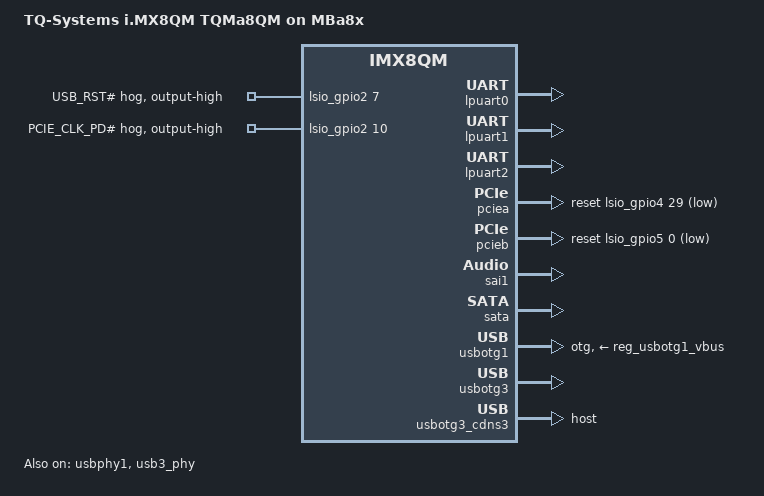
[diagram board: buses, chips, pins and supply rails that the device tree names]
// SPDX-License-Identifier: (GPL-2.0-or-later OR MIT)
/*
 * Copyright 2019-2021 TQ-Systems GmbH
 */

/dts-v1/;

#include "imx8qm-tqma8qm.dtsi"
#include "mba8x.dtsi"

/ {
	model = "TQ-Systems i.MX8QM TQMa8QM on MBa8x";
	compatible = "tq,imx8qm-tqma8qm-mba8x", "tq,imx8qm-tqma8qm", "fsl,imx8qm";

	aliases {
		rtc0 = &pcf85063;
		rtc1 = &rtc;
	};

	chosen {
		bootargs = "console=ttyLP0,115200 earlycon";
		stdout-path = &lpuart0;
	};
};

&lsio_gpio1 {
	/* enable wakeup for gpio-key for gpio1 line 0 (SWITCH_B)*/
	pad-wakeup-num = <1>;
	pad-wakeup = <IMX8QM_SCU_GPIO0_04 4 0>;
};

&lsio_gpio2 {
	/* enable wakeup for gpio-key for gpio2 line 11 (SWITCH_A)*/
	pad-wakeup-num = <1>;
	pad-wakeup = <IMX8QM_ESAI1_TX3_RX2 4 11>;

	/* HUB reset needs to be enabled when the PHY is powered up */
	usb-rst {
		gpio-hog;
		gpios = <7 0>;
		output-high;
		line-name = "USB_RST#";
	};

	/*
	 * force PD# input of PCIe clock generator high
	 * TODO: should better be used as gpio driven clock gate
	 * has to check against SCU firmware if possible.
	 */
	pcie-clk-pd {
		gpio-hog;
		gpios = <10 0>;
		output-high;
		line-name = "PCIE_CLK_PD#";
	};
};

&lpuart0 { /* console */
	pinctrl-names = "default";
	pinctrl-0 = <&pinctrl_lpuart0>;
	status = "okay";
};

&lpuart1 { /* X62 pin header */
	pinctrl-names = "default";
	pinctrl-0 = <&pinctrl_lpuart1>;
	status = "okay";
};

&lpuart2 { /* mikroBUS */
	pinctrl-names = "default";
	pinctrl-0 = <&pinctrl_lpuart2>;
	status = "okay";
};

&pciea {
	pinctrl-names = "default";
	pinctrl-0 = <&pinctrl_pciea>;
	disable-gpio = <&lsio_gpio2 5 GPIO_ACTIVE_LOW>;
	reset-gpio = <&lsio_gpio4 29 GPIO_ACTIVE_LOW>;
/* TODO: optional, currently without functionality */
/*	clkreq-gpio = <&gpio4 27 GPIO_ACTIVE_LOW>; */
	epdev_on-supply = <&reg_v3v3_pcie>;
	vpcie-supply = <&reg_v1v5_pcie>;
	status = "okay";
};

&pcieb {
	pinctrl-names = "default";
	pinctrl-0 = <&pinctrl_pcieb>;
	reset-gpio = <&lsio_gpio5 0 GPIO_ACTIVE_LOW>;
/* TODO: optional, currently without functionality */
/*	clkreq-gpio = <&gpio4 30 GPIO_ACTIVE_LOW>; */
	epdev_on-supply = <&reg_mba8x_v3v3>;
	status = "okay";
};

&sai1 {
	pinctrl-names = "default";
	pinctrl-0 = <&pinctrl_sai1>;
	assigned-clocks = <&clk IMX_SC_R_AUDIO_PLL_0 IMX_SC_PM_CLK_PLL>,
			<&clk IMX_SC_R_AUDIO_PLL_0 IMX_SC_PM_CLK_SLV_BUS>,
			<&clk IMX_SC_R_AUDIO_PLL_0 IMX_SC_PM_CLK_MST_BUS>,
			<&sai1_lpcg 0>;
	assigned-clock-rates = <786432000>, <49152000>, <12288000>, <49152000>;
	status = "okay";
};

&sata {
	ext_osc = <1>;
	clkreq-gpio = <&lsio_gpio4 30 GPIO_ACTIVE_LOW>;
	status = "okay";
};

&usbphy1 {
	status = "okay";
};

&usbotg1 {
	pinctrl-names = "default";
	pinctrl-0 = <&pinctrl_usbotg1>;
	vbus-supply = <&reg_usbotg1_vbus>;
	srp-disable;
	hnp-disable;
	adp-disable;
	power-active-high;
	over-current-active-low;
	dr_mode = "otg";
	status = "okay";
};

&usb3_phy {
	status = "okay";
};

&usbotg3 {
	/* over-current disabled by default */
	status = "okay";
};

&usbotg3_cdns3 {
	dr_mode = "host";
	status = "okay";
};

&iomuxc {
	pinctrl-names = "default";
	pinctrl-0 = <&pinctrl_gpio &pinctrl_hog>;

	pinctrl_adc0: adc0grp {
		fsl,pins = <
			IMX8QM_ADC_IN1_DMA_ADC0_IN1		0x02000060
			IMX8QM_ADC_IN2_DMA_ADC0_IN2		0x02000060
		>;
	};

	pinctrl_fec1: fec1grp {
		fsl,pins = <
			IMX8QM_COMP_CTL_GPIO_1V8_3V3_ENET_ENETB_PAD		0x000014a0

			IMX8QM_ENET0_MDC_CONN_ENET0_MDC				0x06000041
			IMX8QM_ENET0_MDIO_CONN_ENET0_MDIO			0x06000041
			IMX8QM_ENET0_RGMII_TX_CTL_CONN_ENET0_RGMII_TX_CTL	0x00000041
			IMX8QM_ENET0_RGMII_TXC_CONN_ENET0_RGMII_TXC		0x00000041
			IMX8QM_ENET0_RGMII_TXD0_CONN_ENET0_RGMII_TXD0		0x00000041
			IMX8QM_ENET0_RGMII_TXD1_CONN_ENET0_RGMII_TXD1		0x00000041
			IMX8QM_ENET0_RGMII_TXD2_CONN_ENET0_RGMII_TXD2		0x00000041
			IMX8QM_ENET0_RGMII_TXD3_CONN_ENET0_RGMII_TXD3		0x00000041
			IMX8QM_ENET0_RGMII_RXC_CONN_ENET0_RGMII_RXC		0x00000040
			IMX8QM_ENET0_RGMII_RX_CTL_CONN_ENET0_RGMII_RX_CTL	0x00000040
			IMX8QM_ENET0_RGMII_RXD0_CONN_ENET0_RGMII_RXD0		0x00000040
			IMX8QM_ENET0_RGMII_RXD1_CONN_ENET0_RGMII_RXD1		0x00000040
			IMX8QM_ENET0_RGMII_RXD2_CONN_ENET0_RGMII_RXD2		0x00000040
			IMX8QM_ENET0_RGMII_RXD3_CONN_ENET0_RGMII_RXD3		0x00000040
			/* PHY Reset */
			IMX8QM_ESAI1_SCKR_LSIO_GPIO2_IO06			0x00000041
		>;
	};

	pinctrl_fec2: fec2grp {
		fsl,pins = <
			IMX8QM_COMP_CTL_GPIO_1V8_3V3_ENET_ENETA_PAD		0x000014a0

			IMX8QM_ENET1_MDC_CONN_ENET1_MDC				0x06000041
			IMX8QM_ENET1_MDIO_CONN_ENET1_MDIO			0x06000041
			IMX8QM_ENET1_RGMII_TX_CTL_CONN_ENET1_RGMII_TX_CTL	0x00000041
			IMX8QM_ENET1_RGMII_TXC_CONN_ENET1_RGMII_TXC		0x00000041
			IMX8QM_ENET1_RGMII_TXD0_CONN_ENET1_RGMII_TXD0		0x00000041
			IMX8QM_ENET1_RGMII_TXD1_CONN_ENET1_RGMII_TXD1		0x00000041
			IMX8QM_ENET1_RGMII_TXD2_CONN_ENET1_RGMII_TXD2		0x00000041
			IMX8QM_ENET1_RGMII_TXD3_CONN_ENET1_RGMII_TXD3		0x00000041
			IMX8QM_ENET1_RGMII_RXC_CONN_ENET1_RGMII_RXC		0x00000040
			IMX8QM_ENET1_RGMII_RX_CTL_CONN_ENET1_RGMII_RX_CTL	0x00000040
			IMX8QM_ENET1_RGMII_RXD0_CONN_ENET1_RGMII_RXD0		0x00000040
			IMX8QM_ENET1_RGMII_RXD1_CONN_ENET1_RGMII_RXD1		0x00000040
			IMX8QM_ENET1_RGMII_RXD2_CONN_ENET1_RGMII_RXD2		0x00000040
			IMX8QM_ENET1_RGMII_RXD3_CONN_ENET1_RGMII_RXD3		0x00000040
			/* PHY Reset */
			IMX8QM_ESAI1_FSR_LSIO_GPIO2_IO04			0x00000041
		>;
	};

	pinctrl_flexcan1: flexcan0grp {
		fsl,pins = <
			IMX8QM_FLEXCAN0_TX_DMA_FLEXCAN0_TX	0x21
			IMX8QM_FLEXCAN0_RX_DMA_FLEXCAN0_RX	0x21
		>;
	};

	pinctrl_flexcan2: flexcan1grp {
		fsl,pins = <
			IMX8QM_FLEXCAN1_TX_DMA_FLEXCAN1_TX	0x21
			IMX8QM_FLEXCAN1_RX_DMA_FLEXCAN1_RX	0x21
		>;
	};

	pinctrl_gpio: pingpiogrp {
		fsl,pins = <
			/* GPIO0_05 on X62:26 */
			IMX8QM_SIM0_GPIO0_00_LSIO_GPIO0_IO05	0x00000021
			/* GPIO1_14 on X64:21 */
			IMX8QM_LVDS1_I2C1_SCL_LSIO_GPIO1_IO14	0x00000021
			/* GPIO1_15 on X64:23 */
			IMX8QM_LVDS1_I2C1_SDA_LSIO_GPIO1_IO15	0x00000021
			/* GPIO2_17 on X63:37 */
			IMX8QM_SPI3_SCK_LSIO_GPIO2_IO17		0x00000021
			/* GPIO2_21 on X63:39 */
			IMX8QM_SPI3_CS1_LSIO_GPIO2_IO21		0x00000021
			/* GPIO4_12 on X61:24 */
			IMX8QM_USDHC2_CD_B_LSIO_GPIO4_IO12	0x00000021
			/* GPIO4_11 on X61:26 */
			IMX8QM_USDHC2_WP_LSIO_GPIO4_IO11	0x00000021
			/* GPIO4_10 on X61:28 */
			IMX8QM_USDHC2_VSELECT_LSIO_GPIO4_IO10	0x00000021
			/* GPIO4_09 on X61:30 */
			IMX8QM_USDHC2_RESET_B_LSIO_GPIO4_IO09	0x00000021
			/* GPIO5_23 on X62:24 */
			IMX8QM_USDHC1_STROBE_LSIO_GPIO5_IO23	0x00000021
			/* GPIO5_24 on X61:15 */
			IMX8QM_USDHC2_CLK_LSIO_GPIO5_IO24	0x00000021
			/* GPIO5_25 on X61:17 */
			IMX8QM_USDHC2_CMD_LSIO_GPIO5_IO25	0x00000021
			/* GPIO5_26 on X61:19 */
			IMX8QM_USDHC2_DATA0_LSIO_GPIO5_IO26	0x00000021
			/* GPIO5_27 on X61:21 */
			IMX8QM_USDHC2_DATA1_LSIO_GPIO5_IO27	0x00000021
			/* GPIO5_28 on X61:23 */
			IMX8QM_USDHC2_DATA2_LSIO_GPIO5_IO28	0x00000021
			/* GPIO5_29 on X61:25 */
			IMX8QM_USDHC2_DATA3_LSIO_GPIO5_IO29	0x00000021
		>;
	};

	pinctrl_gpiokeys: gpiokeysgrp {
		fsl,pins = <
			IMX8QM_ESAI1_TX3_RX2_LSIO_GPIO2_IO11	0x00000021
			IMX8QM_SCU_GPIO0_04_LSIO_GPIO1_IO00	0x00000021
		>;
	};

	pinctrl_gpioled: gpioledgrp {
		fsl,pins = <
			IMX8QM_USDHC1_DATA4_LSIO_GPIO5_IO19	0x00000021
			IMX8QM_USDHC1_DATA5_LSIO_GPIO5_IO20	0x00000021
		>;
	};

	pinctrl_hog: hoggrp {
		fsl,pins = <
			IMX8QM_ESAI1_TX2_RX3_LSIO_GPIO2_IO10	0x00000021
		>;
	};

	pinctrl_lpspi0: lpspi0grp {
		fsl,pins = <
			IMX8QM_SPI0_SCK_DMA_SPI0_SCK		0x0600004d
			IMX8QM_SPI0_SDO_DMA_SPI0_SDO		0x0600004d
			IMX8QM_SPI0_SDI_DMA_SPI0_SDI		0x0600004d
		>;
	};

	pinctrl_lpspi0_cs: lpspi0csgrp {
		fsl,pins = <
			IMX8QM_SPI0_CS0_LSIO_GPIO3_IO05		0x00000021
			IMX8QM_SPI0_CS1_LSIO_GPIO3_IO06		0x00000021
		>;
	};

	pinctrl_lpspi1: lpspi1grp {
		fsl,pins = <
			IMX8QM_ADC_IN3_DMA_SPI1_SCK		0x0600004d
			IMX8QM_ADC_IN4_DMA_SPI1_SDO		0x0600004d
			IMX8QM_ADC_IN5_DMA_SPI1_SDI		0x0600004d
		>;
	};

	pinctrl_lpspi1_cs: lpspi1csgrp {
		fsl,pins = <
			IMX8QM_ADC_IN6_LSIO_GPIO3_IO24		0x00000021
			IMX8QM_ADC_IN7_LSIO_GPIO3_IO25		0x00000021
		>;
	};

	pinctrl_lpspi2: lpspi2grp {
		fsl,pins = <
			IMX8QM_SPI2_SCK_DMA_SPI2_SCK		0x0600004d
			IMX8QM_SPI2_SDO_DMA_SPI2_SDO		0x0600004d
			IMX8QM_SPI2_SDI_DMA_SPI2_SDI		0x0600004d
		>;
	};

	pinctrl_lpspi2_cs: lpspi02sgrp {
		fsl,pins = <
			IMX8QM_SPI2_CS0_LSIO_GPIO3_IO10		0x00000021
			IMX8QM_SPI2_CS1_LSIO_GPIO3_IO11		0x00000021
		>;
	};

	pinctrl_lpuart0: lpuart0grp {
		fsl,pins = <
			IMX8QM_UART0_RX_DMA_UART0_RX		0x06000021
			IMX8QM_UART0_TX_DMA_UART0_TX		0x06000021
			IMX8QM_UART0_CTS_B_DMA_UART0_CTS_B	0x00000021
			IMX8QM_UART0_RTS_B_DMA_UART0_RTS_B	0x00000021
		>;
	};

	pinctrl_lpuart1: lpuart1grp {
		fsl,pins = <
			IMX8QM_UART1_RX_DMA_UART1_RX		0x06000021
			IMX8QM_UART1_TX_DMA_UART1_TX		0x06000021
			IMX8QM_UART1_CTS_B_DMA_UART1_CTS_B	0x00000021
			IMX8QM_UART1_RTS_B_DMA_UART1_RTS_B	0x00000021
		>;
	};

	pinctrl_lpuart2: lpuart2grp {
		fsl,pins = <
			IMX8QM_LVDS0_I2C1_SDA_DMA_UART2_RX	0x06000021
			IMX8QM_LVDS0_I2C1_SCL_DMA_UART2_TX	0x06000021
		>;
	};

	pinctrl_pciea: pcieagrp {
		fsl,pins = <
			 /* PCIE_DISABLE */
			IMX8QM_ESAI1_FST_LSIO_GPIO2_IO05		0x00000021
			IMX8QM_PCIE_CTRL0_PERST_B_LSIO_GPIO4_IO29	0x06000021
			IMX8QM_PCIE_CTRL0_CLKREQ_B_LSIO_GPIO4_IO27	0x06000021
			IMX8QM_PCIE_CTRL0_WAKE_B_LSIO_GPIO4_IO28	0x04000021
		>;
	};

	pinctrl_pcieb: pciebgrp {
		fsl,pins = <
			IMX8QM_PCIE_CTRL1_PERST_B_LSIO_GPIO5_IO00	0x06000021
			IMX8QM_PCIE_CTRL1_CLKREQ_B_LSIO_GPIO4_IO30	0x06000021
			IMX8QM_PCIE_CTRL1_WAKE_B_LSIO_GPIO4_IO31	0x04000021
		>;
	};

	pinctrl_reg_mba8x_12v: mba12vgrp {
		fsl,pins = <
			IMX8QM_SCU_GPIO0_06_LSIO_GPIO1_IO02	0x00000021
		>;
	};

	pinctrl_reg_pcie_v1v5: regpcie1v5grp {
		fsl,pins = <
			IMX8QM_SCU_GPIO0_03_LSIO_GPIO0_IO31	0x00000021
		>;
	};

	pinctrl_reg_pcie_v3v3: regpcie3v3grp {
		fsl,pins = <
			IMX8QM_SCU_GPIO0_05_LSIO_GPIO1_IO01	0x00000021
		>;
	};

	pinctrl_reg_v3v3_sd: reg3v3sdgrp {
		fsl,pins = <
			IMX8QM_USDHC1_RESET_B_LSIO_GPIO4_IO07	0x00000021
		>;
	};

	pinctrl_sai1: sai1grp {
		fsl,pins = <
			IMX8QM_SAI1_RXD_AUD_SAI1_RXD		0x06000041
			IMX8QM_SAI1_RXC_AUD_SAI1_RXC		0x06000041
			IMX8QM_SAI1_RXFS_AUD_SAI1_RXFS		0x06000041
			IMX8QM_SAI1_TXD_AUD_SAI1_TXD		0x06000061
			IMX8QM_SAI1_TXC_AUD_SAI1_TXC		0x06000041
			IMX8QM_MCLK_OUT0_AUD_ACM_MCLK_OUT0	0x0600004d
		>;
	};

	pinctrl_reg_usbotg1_vbus: regusbotg1vbusgrp {
		fsl,pins = <
			IMX8QM_USB_SS3_TC0_LSIO_GPIO4_IO03	0x00000021
		>;
	};

	pinctrl_reg_usbotg1_hub_reset: reg_usbotg1_hub_resetgrp {
		fsl,pins = <
			IMX8QM_ESAI1_SCKT_LSIO_GPIO2_IO07	0x00000021
		>;
	};

	pinctrl_usbotg1: usbotg1grp {
		fsl,pins = <
			IMX8QM_USB_SS3_TC2_CONN_USB_OTG1_OC	0x00000021
		>;
	};

	pinctrl_usdhc2_gpio: usdhc2_gpiogrp {
		fsl,pins = <
			IMX8QM_USDHC1_DATA6_LSIO_GPIO5_IO21	0x00000021
			IMX8QM_USDHC1_DATA7_LSIO_GPIO5_IO22	0x00000021
		>;
	};

	pinctrl_usdhc2: usdhc2grp {
		fsl,pins = <
			IMX8QM_USDHC1_CLK_CONN_USDHC1_CLK		0x06000041
			IMX8QM_USDHC1_CMD_CONN_USDHC1_CMD		0x00000021
			IMX8QM_USDHC1_DATA0_CONN_USDHC1_DATA0		0x00000021
			IMX8QM_USDHC1_DATA1_CONN_USDHC1_DATA1		0x00000021
			IMX8QM_USDHC1_DATA2_CONN_USDHC1_DATA2		0x00000021
			IMX8QM_USDHC1_DATA3_CONN_USDHC1_DATA3		0x00000021
			IMX8QM_USDHC1_VSELECT_CONN_USDHC1_VSELECT	0x00000021
		>;
	};

	pinctrl_usdhc2_100mhz: usdhc2_100mhzgrp {
		fsl,pins = <
			IMX8QM_USDHC1_CLK_CONN_USDHC1_CLK		0x06000041
			IMX8QM_USDHC1_CMD_CONN_USDHC1_CMD		0x00000021
			IMX8QM_USDHC1_DATA0_CONN_USDHC1_DATA0		0x00000021
			IMX8QM_USDHC1_DATA1_CONN_USDHC1_DATA1		0x00000021
			IMX8QM_USDHC1_DATA2_CONN_USDHC1_DATA2		0x00000021
			IMX8QM_USDHC1_DATA3_CONN_USDHC1_DATA3		0x00000021
			IMX8QM_USDHC1_VSELECT_CONN_USDHC1_VSELECT	0x00000021
		>;
	};

	pinctrl_usdhc2_200mhz: usdhc2_200mhzgrp {
		fsl,pins = <
			IMX8QM_USDHC1_CLK_CONN_USDHC1_CLK		0x06000041
			IMX8QM_USDHC1_CMD_CONN_USDHC1_CMD		0x00000021
			IMX8QM_USDHC1_DATA0_CONN_USDHC1_DATA0		0x00000021
			IMX8QM_USDHC1_DATA1_CONN_USDHC1_DATA1		0x00000021
			IMX8QM_USDHC1_DATA2_CONN_USDHC1_DATA2		0x00000021
			IMX8QM_USDHC1_DATA3_CONN_USDHC1_DATA3		0x00000021
			IMX8QM_USDHC1_VSELECT_CONN_USDHC1_VSELECT	0x00000021
		>;
	};
};
